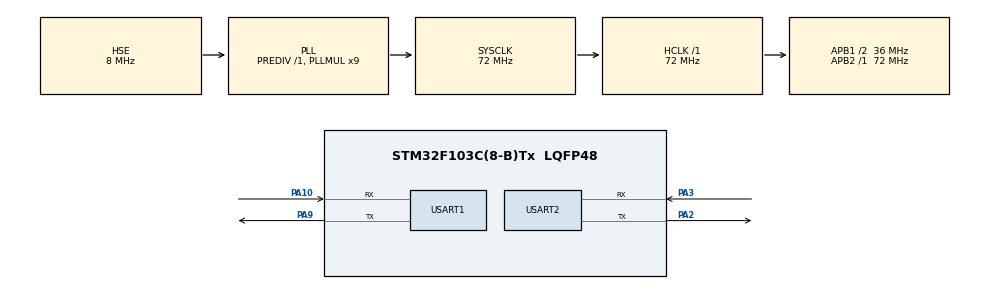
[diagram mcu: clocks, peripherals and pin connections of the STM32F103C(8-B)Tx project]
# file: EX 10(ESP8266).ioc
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Mcu.Family=STM32F1
Mcu.Name=STM32F103C(8-B)Tx
Mcu.Package=LQFP48
NVIC.PriorityGroup=NVIC_PRIORITYGROUP_4
PA10.Mode=Asynchronous
PA10.Signal=USART1_RX
PA13.Mode=Serial_Wire
PA13.Signal=SYS_JTMS-SWDIO
PA14.Mode=Serial_Wire
PA14.Signal=SYS_JTCK-SWCLK
PA2.Mode=Asynchronous
PA2.Signal=USART2_TX
PA3.Mode=Asynchronous
PA3.Signal=USART2_RX
PA9.Mode=Asynchronous
PA9.Signal=USART1_TX
PD0-OSC_IN.Mode=HSE-External-Oscillator
PD0-OSC_IN.Signal=RCC_OSC_IN
PD1-OSC_OUT.Mode=HSE-External-Oscillator
PD1-OSC_OUT.Signal=RCC_OSC_OUT
ProjectManager.HeapSize=0x200
ProjectManager.StackSize=0x400
ProjectManager.TargetToolchain=MDK-ARM V5.32
RCC.AHBFreq_Value=72000000
RCC.APB1CLKDivider=RCC_HCLK_DIV2
RCC.APB1Freq_Value=36000000
RCC.APB1TimFreq_Value=72000000
RCC.APB2Freq_Value=72000000
RCC.APB2TimFreq_Value=72000000
RCC.HCLKFreq_Value=72000000
RCC.PLLMUL=RCC_PLL_MUL9
RCC.PLLSourceVirtual=RCC_PLLSOURCE_HSE
RCC.SYSCLKFreq_VALUE=72000000
RCC.SYSCLKSource=RCC_SYSCLKSOURCE_PLLCLK
RCC.USBFreq_Value=72000000
USART1.VirtualMode=VM_ASYNC
USART2.VirtualMode=VM_ASYNC
board=custom

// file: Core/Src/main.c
/* USER CODE BEGIN Header */
/**
  ******************************************************************************
  * @file           : main.c
  * @brief          : Main program body
  ******************************************************************************
  * @attention
  *
  * Copyright (c) 2026 STMicroelectronics.
  * All rights reserved.
  *
  ******************************************************************************
  */
/* USER CODE END Header */

#include "main.h"
#include <string.h>
#include <stdio.h>

UART_HandleTypeDef huart1;
UART_HandleTypeDef huart2;

void SystemClock_Config(void);
static void MX_GPIO_Init(void);
static void MX_USART1_UART_Init(void);
static void MX_USART2_UART_Init(void);

/* USER CODE BEGIN 0 */

/* Send data to PC/PuTTY */
void UART_Send(char *msg)
{
    HAL_UART_Transmit(&huart2, (uint8_t *)msg,
                      strlen(msg), HAL_MAX_DELAY);
}

/* Send data to Wemos/ESP8266 */
void Wemos_Send(char *msg)
{
    HAL_UART_Transmit(&huart1, (uint8_t *)msg,
                      strlen(msg), HAL_MAX_DELAY);
}

/* Send one AT command and receive its response */
void Send_AT_Command(char *command)
{
    uint8_t rx;
    uint8_t received = 0;

    /* Display the command being sent on PuTTY */
    UART_Send(">> ");
    UART_Send(command);
    UART_Send("\r\n");

    /* Send the AT command to Wemos/ESP8266 */
    Wemos_Send(command);
    Wemos_Send("\r\n");

    /* Receive the response from Wemos/ESP8266 */
    while (HAL_UART_Receive(&huart1, &rx, 1, 5000) == HAL_OK)
    {
        received = 1;

        /* Display the received response on PuTTY */
        HAL_UART_Transmit(&huart2, &rx, 1, HAL_MAX_DELAY);
    }

    /* Check whether any response was received */
    if (received == 0)
    {
        UART_Send("No response from Wemos\r\n");
    }

    /* Add a blank line before the next command */
    UART_Send("\r\n");

    /* Small delay before sending the next command */
    HAL_Delay(1000);
}

void Send_Webpage(int id)
{
    char command[40];

    char response[] =
        "HTTP/1.1 200 OK\r\n"
        "Content-Type: text/plain\r\n"
        "Content-Length: 23\r\n"
        "Connection: close\r\n"
        "\r\n"
        "Hi, hello from bluepill";

    sprintf(command, "AT+CIPSEND=%d,%d",
            id, (int)strlen(response));

    Wemos_Send(command);
    Wemos_Send("\r\n");

    uint8_t ch;
    int prompt_found = 0;

    for (int i = 0; i < 50; i++)
    {
        if (HAL_UART_Receive(&huart1, &ch, 1, 100) == HAL_OK)
        {
            if (ch == '>')
            {
                prompt_found = 1;
                break;
            }
        }
    }

    if (prompt_found)
    {
        HAL_UART_Transmit(&huart1, (uint8_t *)response,
                          strlen(response), 5000);

        UART_Send("\r\nHTTP response sent\r\n");

        HAL_Delay(500);

        sprintf(command, "AT+CIPCLOSE=%d", id);
        Wemos_Send(command);
        Wemos_Send("\r\n");
    }
    else
    {
        UART_Send("\r\nESP8266 send prompt not received\r\n");
    }
}

/* USER CODE END 0 */

int main(void)
{

    /* MCU Configuration------------------------------------------------------*/

    HAL_Init();

    /* Configure the system clock */
    SystemClock_Config();

    /* Initialize all configured peripherals */
    MX_GPIO_Init();
    MX_USART1_UART_Init();
    MX_USART2_UART_Init();

    /* USER CODE BEGIN 2 */

    /* Startup messages */
    UART_Send("STM32 Wemos UART TEST\r\n");
    UART_Send("Communication Started\r\n\r\n");

    /* ===== SEND AT COMMANDS ===== */

    /* Check whether ESP8266 responds */
    Send_AT_Command("AT");

    /* Get ESP8266 firmware version */
    Send_AT_Command("AT+GMR");

    /* Configure ESP8266 as Wi-Fi station */
    Send_AT_Command("AT+CWMODE=1");

    /* Scan for available Wi-Fi networks */
    Send_AT_Command("AT+CWLAP");

    /* Connect ESP8266 to the Wi-Fi network */
    Send_AT_Command("AT+CWJAP=\"SNUC\",\"snu12345\"");

    /* Get network information including IP address */
    Send_AT_Command("AT+CIFSR");

    /* Check current Wi-Fi connection status */
    Send_AT_Command("AT+CIPSTATUS");

    Send_AT_Command("AT+CIPMUX=1");
		Send_AT_Command("AT+CIPSERVER=1,80");
    /* ============================ */

    /* USER CODE END 2 */

    /* Infinite loop */
    /* USER CODE BEGIN WHILE */

    /* Stay here - do NOT send AT commands again */

while (1)
{
    static char rxBuffer[512] = {0};
    static int pos = 0;
    uint8_t ch;

    if (HAL_UART_Receive(&huart1, &ch, 1, 100) == HAL_OK)
    {
        // Display incoming ESP8266 data on the PC terminal
        HAL_UART_Transmit(&huart2, &ch, 1, HAL_MAX_DELAY);

        if (pos < (int)sizeof(rxBuffer) - 1)
        {
            rxBuffer[pos++] = ch;
            rxBuffer[pos] = '\0';
        }
        else
        {
            memset(rxBuffer, 0, sizeof(rxBuffer));
            pos = 0;
            continue;
        }

        char *ipd = strstr(rxBuffer, "+IPD,");

        if (ipd != NULL)
        {
            char *colon = strchr(ipd, ':');

            // Wait for the complete HTTP request header
            if (colon != NULL &&
                strstr(colon + 1, "\r\n\r\n") != NULL)
            {
                int id;

                if (sscanf(ipd, "+IPD,%d,", &id) == 1 &&
                    strstr(colon + 1, "GET /") != NULL)
                {
                    UART_Send("\r\nBrowser request received!\r\n");

                    // Clear the buffer before sending the response
                    memset(rxBuffer, 0, sizeof(rxBuffer));
                    pos = 0;

                    Send_Webpage(id);
                }
            }
        }
    }
}

    /* USER CODE END WHILE */

}

void SystemClock_Config(void)
{
    RCC_OscInitTypeDef RCC_OscInitStruct = {0};
    RCC_ClkInitTypeDef RCC_ClkInitStruct = {0};

    /** Initializes the RCC Oscillators according to the specified parameters
    * in the RCC_OscInitTypeDef structure.
    */
    RCC_OscInitStruct.OscillatorType = RCC_OSCILLATORTYPE_HSE;
    RCC_OscInitStruct.HSEState = RCC_HSE_ON;
    RCC_OscInitStruct.HSEPredivValue = RCC_HSE_PREDIV_DIV1;
    RCC_OscInitStruct.HSIState = RCC_HSI_ON;
    RCC_OscInitStruct.PLL.PLLState = RCC_PLL_ON;
    RCC_OscInitStruct.PLL.PLLSource = RCC_PLLSOURCE_HSE;
    RCC_OscInitStruct.PLL.PLLMUL = RCC_PLL_MUL9;

    if (HAL_RCC_OscConfig(&RCC_OscInitStruct) != HAL_OK)
    {
        Error_Handler();
    }

    /** Initializes the CPU, AHB and APB buses clocks
    */
    RCC_ClkInitStruct.ClockType = RCC_CLOCKTYPE_HCLK |
                                   RCC_CLOCKTYPE_SYSCLK |
                                   RCC_CLOCKTYPE_PCLK1 |
                                   RCC_CLOCKTYPE_PCLK2;

    RCC_ClkInitStruct.SYSCLKSource = RCC_SYSCLKSOURCE_PLLCLK;
    RCC_ClkInitStruct.AHBCLKDivider = RCC_SYSCLK_DIV1;
    RCC_ClkInitStruct.APB1CLKDivider = RCC_HCLK_DIV2;
    RCC_ClkInitStruct.APB2CLKDivider = RCC_HCLK_DIV1;

    if (HAL_RCC_ClockConfig(&RCC_ClkInitStruct,
                            FLASH_LATENCY_2) != HAL_OK)
    {
        Error_Handler();
    }
}

static void MX_USART1_UART_Init(void)
{

    huart1.Instance = USART1;
    huart1.Init.BaudRate = 115200;
    huart1.Init.WordLength = UART_WORDLENGTH_8B;
    huart1.Init.StopBits = UART_STOPBITS_1;
    huart1.Init.Parity = UART_PARITY_NONE;
    huart1.Init.Mode = UART_MODE_TX_RX;
    huart1.Init.HwFlowCtl = UART_HWCONTROL_NONE;
    huart1.Init.OverSampling = UART_OVERSAMPLING_16;

    if (HAL_UART_Init(&huart1) != HAL_OK)
    {
        Error_Handler();
    }

}

static void MX_USART2_UART_Init(void)
{

    huart2.Instance = USART2;
    huart2.Init.BaudRate = 115200;
    huart2.Init.WordLength = UART_WORDLENGTH_8B;
    huart2.Init.StopBits = UART_STOPBITS_1;
    huart2.Init.Parity = UART_PARITY_NONE;
    huart2.Init.Mode = UART_MODE_TX_RX;
    huart2.Init.HwFlowCtl = UART_HWCONTROL_NONE;
    huart2.Init.OverSampling = UART_OVERSAMPLING_16;

    if (HAL_UART_Init(&huart2) != HAL_OK)
    {
        Error_Handler();
    }

}

static void MX_GPIO_Init(void)
{

    /* GPIO Ports Clock Enable */
    __HAL_RCC_GPIOD_CLK_ENABLE();
    __HAL_RCC_GPIOA_CLK_ENABLE();

}

void Error_Handler(void)
{
    __disable_irq();
    while (1)
    {
    }
}
